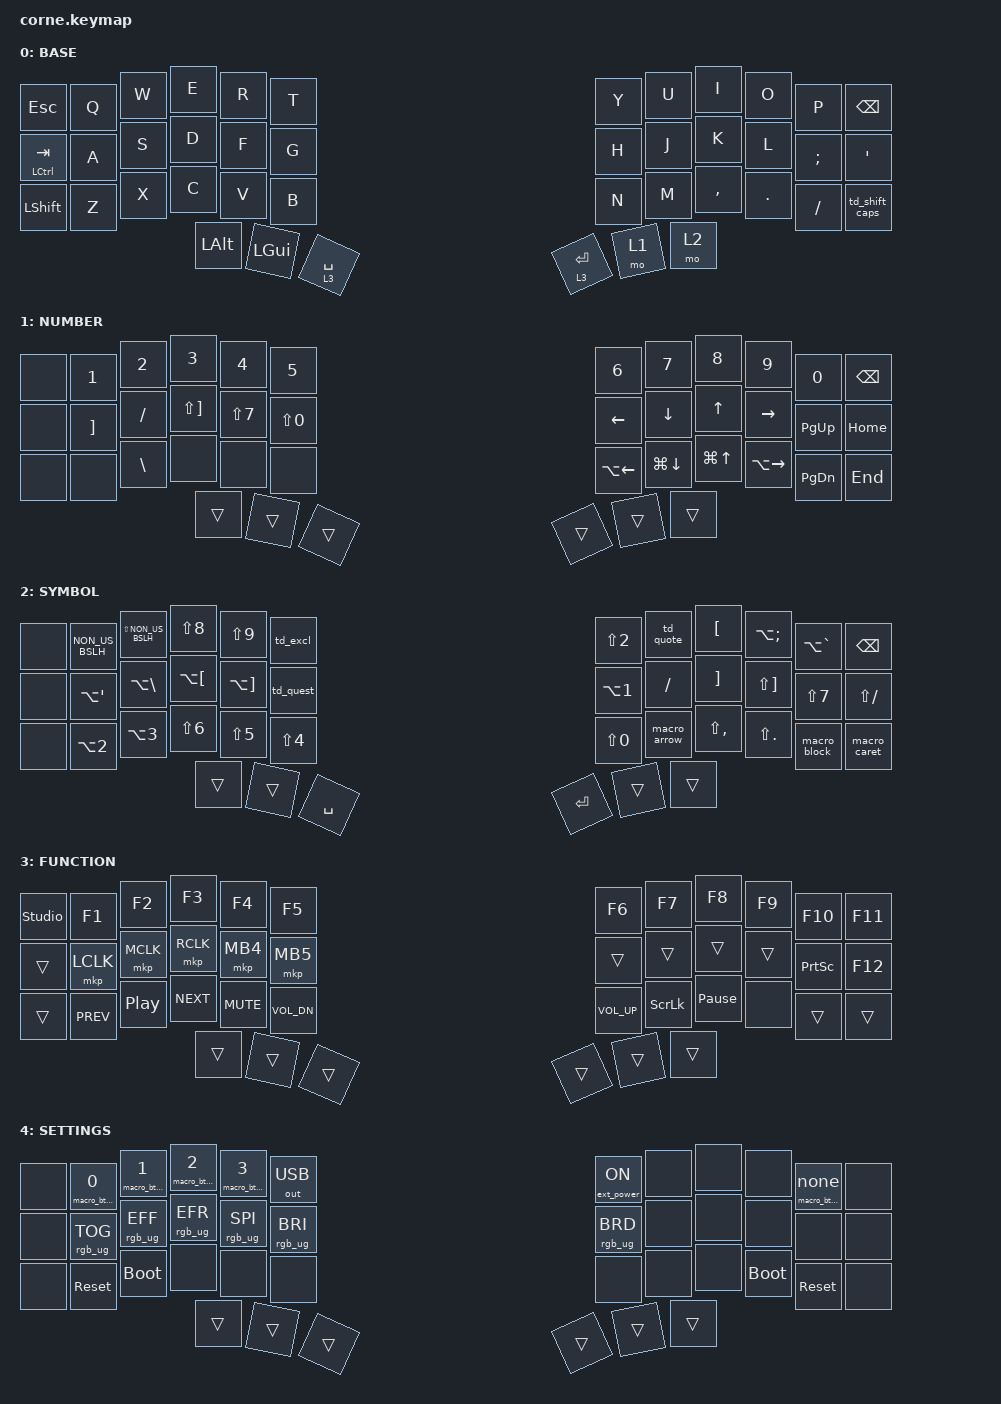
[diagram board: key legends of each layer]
/*
 * ╔══════════════════════════════════════════════════════════════════════════╗
 * ║                    Tavomak's CORNE KEYMAP CONFIGURATION                  ║
 * ╠══════════════════════════════════════════════════════════════════════════╣
 * ║  5 layers: BASE · NUMBER · SYMBOL · FUNCTION · SETTINGS                 ║
 * ║  OS: macOS Spanish (Spain) — keycodes derived accordingly                ║
 * ║  Specs: .claude/specs/01–07                                              ║
 * ╚══════════════════════════════════════════════════════════════════════════╝
 */

// ============================================================================
// INCLUDES
// ============================================================================
#include <behaviors.dtsi>
#include <dt-bindings/zmk/bt.h>
#include <dt-bindings/zmk/ext_power.h>
#include <dt-bindings/zmk/keys.h>
#include <dt-bindings/zmk/pointing.h>
#include <dt-bindings/zmk/outputs.h>
#include <dt-bindings/zmk/rgb.h>

// ============================================================================
// CAPS WORD — Spanish macOS keycodes
// ============================================================================
// - and _ live on FSLH here; the default UNDERSCORE would be ? under this layout.
// SEMI (ñ) keeps the word going, but ZMK only shifts A-Z: Ñ still needs Shift.
&caps_word {
    continue-list = <FSLH LS(FSLH) SEMI BACKSPACE DELETE>;
};

/ {

    // ========================================================================
    // MACROS — spec 07
    // ========================================================================
    macros {

        // => (JS arrow function)
        // Sends = then > under Spanish macOS
        macro_arrow: macro_arrow {
            compatible = "zmk,behavior-macro";
            #binding-cells = <0>;
            wait-ms = <10>;
            tap-ms = <10>;
            bindings = <&kp LS(N0)>, <&kp LS(NON_US_BSLH)>;
        };

        // {} with cursor inside (JS/CSS block)
        // Sends { then } then LEFT arrow
        macro_block: macro_block {
            compatible = "zmk,behavior-macro";
            #binding-cells = <0>;
            wait-ms = <10>;
            tap-ms = <10>;
            bindings = <&kp LA(SQT)>, <&kp LA(BSLH)>, <&kp LEFT>;
        };

        // ^ typed directly: Shift+LBKT is a dead key, SPACE commits it
        macro_caret: macro_caret {
            compatible = "zmk,behavior-macro";
            #binding-cells = <0>;
            wait-ms = <10>;
            tap-ms = <10>;
            bindings = <&kp LS(LBKT)>, <&kp SPACE>;
        };

        // Selects a BT profile AND leaves USB: BT_SEL alone keeps typing over USB
        macro_bt_sel: macro_bt_sel {
            compatible = "zmk,behavior-macro-one-param";
            #binding-cells = <1>;
            wait-ms = <10>;
            tap-ms = <10>;
            bindings = <&out OUT_BLE>, <&macro_param_1to2>, <&bt BT_SEL MACRO_PLACEHOLDER>;
        };

        // Wrapper: hold-tap can't pass the two params &bt BT_CLR needs
        macro_bt_clr: macro_bt_clr {
            compatible = "zmk,behavior-macro";
            #binding-cells = <0>;
            bindings = <&bt BT_CLR>;
        };
    };

    // ========================================================================
    // BEHAVIORS — specs 02, 06
    // ========================================================================
    behaviors {

        // Tap = TAB / Hold = CTRL
        // flavor=balanced + require-prior-idle avoids CTRL on fast typing
        mt_ctrl_tab: mt_ctrl_tab {
            compatible = "zmk,behavior-hold-tap";
            #binding-cells = <2>;
            flavor = "balanced";
            tapping-term-ms = <200>;
            require-prior-idle-ms = <125>;
            bindings = <&kp>, <&kp>;
        };

        // Hold 2 s = unpair the ACTIVE profile / Tap = nothing
        // tap-preferred: only the timer triggers it, other keys can't
        hold_bt_clr: hold_bt_clr {
            compatible = "zmk,behavior-hold-tap";
            #binding-cells = <2>;
            flavor = "tap-preferred";
            tapping-term-ms = <2000>;
            bindings = <&macro_bt_clr>, <&none>;
        };

        // 1 tap = RSHIFT / 2 taps = CAPS_WORD — spec 06
        td_shift_caps: td_shift_caps {
            compatible = "zmk,behavior-tap-dance";
            #binding-cells = <0>;
            tapping-term-ms = <200>;
            bindings = <&kp RSHIFT>, <&caps_word>;
        };

        // 1 tap = ' / 2 taps = " — spec 06
        // MINUS = ' and LS(N2) = " under Spanish macOS
        td_quote: td_quote {
            compatible = "zmk,behavior-tap-dance";
            #binding-cells = <0>;
            tapping-term-ms = <200>;
            bindings = <&kp MINUS>, <&kp LS(N2)>;
        };

        // 1 tap = ! / 2 taps = ¡ — Spanish macOS
        // LS(N1) = ! and EQUAL = ¡
        td_excl: td_excl {
            compatible = "zmk,behavior-tap-dance";
            #binding-cells = <0>;
            tapping-term-ms = <200>;
            bindings = <&kp LS(N1)>, <&kp EQUAL>;
        };

        // 1 tap = ? / 2 taps = ¿ — Spanish macOS
        // LS(MINUS) = ? and LS(EQUAL) = ¿
        td_quest: td_quest {
            compatible = "zmk,behavior-tap-dance";
            #binding-cells = <0>;
            tapping-term-ms = <200>;
            bindings = <&kp LS(MINUS)>, <&kp LS(EQUAL)>;
        };
    };

    // ========================================================================
    // TRI-LAYER: NUMBER (1) + SYMBOL (2) → SETTINGS (4) — spec 03
    // ========================================================================
    conditional_layers {
        compatible = "zmk,conditional-layers";
        settings_layer {
            if-layers = <1 2>;
            then-layer = <4>;
        };
    };

    // ========================================================================
    // KEYMAP
    // ========================================================================
    keymap {
        compatible = "zmk,keymap";

        // ====================================================================
        // LAYER 0: BASE — specs 01, 02
        // ====================================================================
        // Thumb left:  ALT | CMD | SPACE/FN
        // Thumb right: ENTER/FN | NUM | SYM
        // Pinky left:  ESC (top) | TAB/CTRL (home) | SHIFT (bottom)
        // Pinky right: BSPC (top) | ´ (home) | SHIFT/CAPS (bottom)
        // ====================================================================
        default_layer {
            display-name = "BASE";
            bindings = <
// ╭──────────────────┬──────────────────┬──────────────────┬──────────────────┬──────────────────┬──────────────────╮   ╭──────────────────┬──────────────────┬──────────────────┬──────────────────┬──────────────────┬──────────────────╮
//  ESC                Q                  W                  E                  R                  T                      Y                  U                  I                  O                  P                  BSPC
    &kp ESC            &kp Q              &kp W              &kp E              &kp R              &kp T                  &kp Y              &kp U              &kp I              &kp O              &kp P              &kp BSPC
// ├──────────────────┼──────────────────┼──────────────────┼──────────────────┼──────────────────┼──────────────────┤   ├──────────────────┼──────────────────┼──────────────────┼──────────────────┼──────────────────┼──────────────────┤
//  tap=TAB hold=CTRL A                  S                  D                  F                  G                      H                  J                  K                  L                  ñ                  ´(dead)
    &mt_ctrl_tab LCTRL TAB &kp A              &kp S              &kp D              &kp F              &kp G                  &kp H              &kp J              &kp K              &kp L              &kp SEMI           &kp SQT
// ├──────────────────┼──────────────────┼──────────────────┼──────────────────┼──────────────────┼──────────────────┤   ├──────────────────┼──────────────────┼──────────────────┼──────────────────┼──────────────────┼──────────────────┤
//  SHIFT              Z                 X                  C                  V                  B                      N                  M                  ,                  .                  -                  tap=SHIFT 2x=CAPS
    &kp LSHIFT         &kp Z              &kp X              &kp C              &kp V              &kp B                  &kp N              &kp M              &kp COMMA          &kp DOT            &kp FSLH           &td_shift_caps
// ╰──────────────────┴──────────────────┴──────────────────┼──────────────────┼──────────────────┼──────────────────┤   ├──────────────────┼──────────────────┼──────────────────┴──────────────────┴──────────────────┴──────────────────╯
//                                                           ALT                CMD                tap=SPC hold=FN        tap=ENT hold=FN    NUM                SYM
                                                             &kp LALT           &kp LGUI           &lt 3 SPACE            &lt 3 ENTER        &mo 1              &mo 2
//                                                          ╰──────────────────┴──────────────────┴──────────────────╯   ╰──────────────────┴──────────────────┴──────────────────╯
            >;
        };

        // ====================================================================
        // LAYER 1: NUMBER — Numbers + Operators + nvim Navigation — spec 04
        // ====================================================================
        // Home row left:   + - * / =  (operators, Spanish macOS keycodes)
        // Home row right:  ← ↓ ↑ → PGUP HOME  (hjkl navigation)
        // Bottom row left: ç on X
        // Bottom row right: word← doc-end doc-start word→ PGDN END  (jumps under the arrows)
        // ====================================================================
        lower_layer {
            display-name = "NUMBER";
            bindings = <
// ╭──────────────────┬──────────────────┬──────────────────┬──────────────────┬──────────────────┬──────────────────╮    ╭──────────────────┬──────────────────┬──────────────────┬──────────────────┬──────────────────┬──────────────────╮
//  ---                1                  2                  3                  4                  5                       6                  7                  8                  9                  0                  BSPC
    &none              &kp N1             &kp N2             &kp N3             &kp N4             &kp N5                  &kp N6             &kp N7             &kp N8             &kp N9             &kp N0             &kp BSPC
// ├──────────────────┼──────────────────┼──────────────────┼──────────────────┼──────────────────┼──────────────────┤    ├──────────────────┼──────────────────┼──────────────────┼──────────────────┼──────────────────┼──────────────────┤
//  ---                +                  -                  *                  /                  =                       ←                  ↓                  ↑                  →                  PGUP               HOME
    &none              &kp RBKT           &kp FSLH           &kp LS(RBKT)       &kp LS(N7)         &kp LS(N0)              &kp LEFT           &kp DOWN           &kp UP             &kp RIGHT          &kp PG_UP          &kp HOME
// ├──────────────────┼──────────────────┼──────────────────┼──────────────────┼──────────────────┼──────────────────┤    ├──────────────────┼──────────────────┼──────────────────┼──────────────────┼──────────────────┼──────────────────┤
//  ---                ∅                  ç                  ∅                  ∅                  ∅                       w←(Opt+←)          G(Cmd+↓)           gg(Cmd+↑)          w→(Opt+→)          PGDN               END
    &none              &none              &kp BSLH           &none              &none              &none                   &kp LA(LEFT)       &kp LG(DOWN)       &kp LG(UP)         &kp LA(RIGHT)      &kp PG_DN          &kp END
// ╰──────────────────┴──────────────────┴──────────────────┼──────────────────┼──────────────────┼──────────────────┤    ├──────────────────┼──────────────────┼──────────────────┴──────────────────┴──────────────────┴──────────────────╯
//                                                           ---                ---                ---                     ---                held               ---
                                                             &trans             &trans             &trans                  &trans             &trans             &trans
//                                                          ╰──────────────────┴──────────────────┴──────────────────╯    ╰──────────────────┴──────────────────┴──────────────────╯
            >;
        };

        // ====================================================================
        // LAYER 2: SYMBOL — Direct symbols for Spanish macOS — spec 05
        // ====================================================================
        // All keycodes produce the correct character under Spanish macOS.
        // LA() = Option/Alt combo. NON_US_BSLH = ISO key (< / >).
        // Left: opening/closing pairs, ! over ?. Right: quotes, operators.
        // ; and : sit on the BASE , and . keys, matching Shift+, and Shift+. here.
        // ====================================================================
        raise_layer {
            display-name = "SYMBOL";
            bindings = <
// ╭──────────────────┬──────────────────┬──────────────────┬──────────────────┬──────────────────┬──────────────────╮   ╭──────────────────┬──────────────────┬──────────────────┬──────────────────┬──────────────────┬──────────────────╮
//  ---                <                  >                  (                  )                  !/¡(td)                "                  '/"(td)            `                  ~                  \                  BSPC
    &none              &kp NON_US_BSLH    &kp LS(NON_US_BSLH) &kp LS(N8)        &kp LS(N9)        &td_excl               &kp LS(N2)         &td_quote          &kp LBKT           &kp LA(SEMI)       &kp LA(GRAVE)      &kp BSPC
// ├──────────────────┼──────────────────┼──────────────────┼──────────────────┼──────────────────┼──────────────────┤   ├──────────────────┼──────────────────┼──────────────────┼──────────────────┼──────────────────┼──────────────────┤
//  ---                {                  }                  [                  ]                  ?/¿(td)                |                  -                  +                  *                  /                  _
    &none              &kp LA(SQT)        &kp LA(BSLH)       &kp LA(LBKT)       &kp LA(RBKT)       &td_quest              &kp LA(N1)         &kp FSLH           &kp RBKT           &kp LS(RBKT)       &kp LS(N7)         &kp LS(FSLH)
// ├──────────────────┼──────────────────┼──────────────────┼──────────────────┼──────────────────┼──────────────────┤   ├──────────────────┼──────────────────┼──────────────────┼──────────────────┼──────────────────┼──────────────────┤
//  ---                @                  #                  &                  %                  $                      =                  =>                 ;                  :                  {|}                ^
    &none              &kp LA(N2)         &kp LA(N3)         &kp LS(N6)         &kp LS(N5)         &kp LS(N4)             &kp LS(N0)         &macro_arrow       &kp LS(COMMA)      &kp LS(DOT)        &macro_block       &macro_caret
// ╰──────────────────┴──────────────────┴──────────────────┼──────────────────┼──────────────────┼──────────────────┤   ├──────────────────┼──────────────────┼──────────────────┴──────────────────┴──────────────────┴──────────────────╯
//                                                           ---                ---                SPC                    ENT                held               ---
                                                             &trans             &trans             &kp SPACE              &kp RET            &trans             &trans
//                                                          ╰──────────────────┴──────────────────┴──────────────────╯   ╰──────────────────┴──────────────────┴──────────────────╯
            >;
        };

        // ====================================================================
        // LAYER 3: FUNCTION — F1-F12 + Media + Mouse — spec 03
        // ====================================================================
        // Mouse consolidated on home row left.
        // Media keys on bottom row left.
        // BOOTLOADER removed — only accessible from SETTINGS.
        // ====================================================================
        layer_3 {
            display-name = "FUNCTION";
            bindings = <
// ╭──────────────────┬──────────────────┬──────────────────┬──────────────────┬──────────────────┬──────────────────╮   ╭──────────────────┬──────────────────┬──────────────────┬──────────────────┬──────────────────┬──────────────────╮
//  STUDIO_UNLOCK      F1                 F2                 F3                 F4                 F5                     F6                 F7                 F8                 F9                 F10                F11
    &studio_unlock     &kp F1             &kp F2             &kp F3             &kp F4             &kp F5                 &kp F6             &kp F7             &kp F8             &kp F9             &kp F10            &kp F11
// ├──────────────────┼──────────────────┼──────────────────┼──────────────────┼──────────────────┼──────────────────┤   ├──────────────────┼──────────────────┼──────────────────┼──────────────────┼──────────────────┼──────────────────┤
//  ---                M1(left)           M2(mid)            M3(right)          MB4                MB5                    ---                ---                ---                ---                PRSC               F12
    &trans             &mkp LCLK          &mkp MCLK          &mkp RCLK          &mkp MB4           &mkp MB5               &trans             &trans             &trans             &trans             &kp PRINTSCREEN    &kp F12
// ├──────────────────┼──────────────────┼──────────────────┼──────────────────┼──────────────────┼──────────────────┤   ├──────────────────┼──────────────────┼──────────────────┼──────────────────┼──────────────────┼──────────────────┤
//  ---                ⏮                  ⏯                  ⏭                  MUTE               VOL_DN                 VOL_UP             SCRL_LOCK          PAUSE              ∅                  ---                ---
    &trans             &kp C_PREV         &kp C_PP           &kp C_NEXT         &kp C_MUTE         &kp C_VOL_DN           &kp C_VOL_UP       &kp SCROLLLOCK     &kp PAUSE_BREAK    &none              &trans             &trans
// ╰──────────────────┴──────────────────┴──────────────────┼──────────────────┼──────────────────┼──────────────────┤   ├──────────────────┼──────────────────┼──────────────────┴──────────────────┴──────────────────┴──────────────────╯
//                                                           ---                ---                held                   held               ---                ---
                                                             &trans             &trans             &trans                 &trans             &trans             &trans
//                                                          ╰──────────────────┴──────────────────┴──────────────────╯   ╰──────────────────┴──────────────────┴──────────────────╯
            >;
        };

        // ====================================================================
        // LAYER 4: SETTINGS — Devices + RGB + Bootloader — spec 03
        // ====================================================================
        // Activated via tri-layer: hold NUM (mo 1) + SYM (mo 2) simultaneously.
        // Top row: keys 1-4 = BT profiles 0-3, key 5 = USB. Same spot as NUMBER digits.
        // Hold P for 2 s = unpair the ACTIVE profile. No clear-all on purpose.
        // Y = VCC on, for all parts: use it if the dongle OLED stays dark after flashing.
        // Reset behaviors run on the half that was pressed, hence one set per half.
        // The dongle has no keys: its bootloader needs the physical button.
        // ====================================================================
        settings_layer {
            display-name = "SETTINGS";
            bindings = <
// ╭──────────────────┬──────────────────┬──────────────────┬──────────────────┬──────────────────┬──────────────────╮   ╭──────────────────┬──────────────────┬──────────────────┬──────────────────┬──────────────────┬──────────────────╮
//  ---                BT 1               BT 2               BT 3               BT 4               USB                    VCC ON             ---                ---                ---                hold 2s=CLEAR      ---
    &none              &macro_bt_sel 0    &macro_bt_sel 1    &macro_bt_sel 2    &macro_bt_sel 3    &out OUT_USB           &ext_power EP_ON   &none              &none              &none              &hold_bt_clr 0 0   &none
// ├──────────────────┼──────────────────┼──────────────────┼──────────────────┼──────────────────┼──────────────────┤   ├──────────────────┼──────────────────┼──────────────────┼──────────────────┼──────────────────┼──────────────────┤
//  ---                RGB_TOG            RGB_EFF            RGB_EFR            RGB_SPI            RGB_BRI                RGB_BRD            ---                ---                ---                ---                ---
    &none              &rgb_ug RGB_TOG    &rgb_ug RGB_EFF    &rgb_ug RGB_EFR    &rgb_ug RGB_SPI    &rgb_ug RGB_BRI        &rgb_ug RGB_BRD    &none              &none              &none              &none              &none
// ├──────────────────┼──────────────────┼──────────────────┼──────────────────┼──────────────────┼──────────────────┤   ├──────────────────┼──────────────────┼──────────────────┼──────────────────┼──────────────────┼──────────────────┤
//  ---                SYS_RESET          BOOTLOADER         ---                ---                ---                    ---                ---                ---                BOOTLOADER         SYS_RESET          ---
    &none              &sys_reset         &bootloader        &none              &none              &none                  &none              &none              &none              &bootloader        &sys_reset         &none
// ╰──────────────────┴──────────────────┴──────────────────┼──────────────────┼──────────────────┼──────────────────┤   ├──────────────────┼──────────────────┼──────────────────┴──────────────────┴──────────────────┴──────────────────╯
//                                                           ---                ---                ---                    ---                held               held
                                                             &trans             &trans             &trans                 &trans             &trans             &trans
//                                                          ╰──────────────────┴──────────────────┴──────────────────╯   ╰──────────────────┴──────────────────┴──────────────────╯
            >;
        };
    };
};
